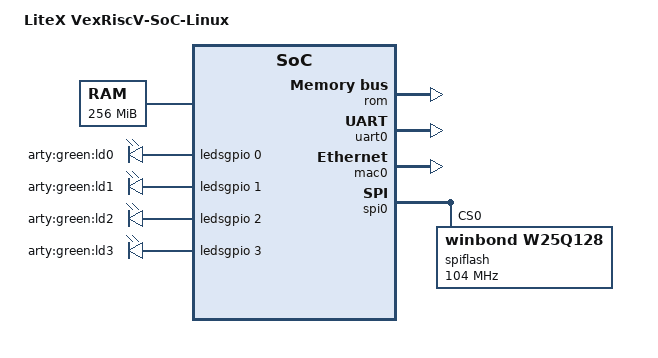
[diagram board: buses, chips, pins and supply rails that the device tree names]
// SPDX-License-Identifier: GPL-2.0-only

#include "litex_soc_linux.dtsi"

#include <dt-bindings/gpio/gpio.h>

/ {
	model = "LiteX VexRiscV-SoC-Linux";
	compatible = "litex,vexriscv-soc-linux";
	barebox,disable-deep-probe;

	aliases {
		rom = &rom;
		sram = &sram;
	};

	/* ARTY board */
	rom: rom@00000000 {
		compatible = "mmio-sram";
		reg = <0x00000000 0x00008000>;
		read-only;
	};

	sram: sram@20000000 {
		compatible = "mmio-sram";
		reg = <0x20000000 0x00004000>;
	};

	main_ram: memory@40000000 {
		device_type = "memory";
		reg = <0x40000000 0x10000000>;
	};
};

&uart0 {
	status = "okay";
};

&mac0 {
	status = "okay";
};

&spi0 {
	status = "okay";

	spiflash: w25q128@0 {
		#address-cells = <1>;
		#size-cells = <1>;
		compatible = "winbond,w25q128", "jedec,spi-nor";
		spi-max-frequency = <104000000>;
		reg = <0>;
	};
};

/ {
	ledsgpio: gpio@f000a800 {
		compatible = "ti,74175";
		reg = <0xf000a800 0x4>;
		gpio-controller;
		#gpio-cells = <2>;
	};

	leds {
		compatible = "gpio-leds";

		ld0 {
			label = "arty:green:ld0";
			gpios = <&ledsgpio 0 GPIO_ACTIVE_HIGH>;
		};

		ld1 {
			label = "arty:green:ld1";
			gpios = <&ledsgpio 1 GPIO_ACTIVE_HIGH>;
		};

		ld2 {
			label = "arty:green:ld2";
			gpios = <&ledsgpio 2 GPIO_ACTIVE_HIGH>;
		};

		ld3 {
			label = "arty:green:ld3";
			gpios = <&ledsgpio 3 GPIO_ACTIVE_HIGH>;
		};
	};

	swgpio: gpio@f0006000 {
		compatible = "ti,74125";
		reg = <0xf0006000 0x4>;
		gpio-controller;
		#gpio-cells = <2>;
	};
};
